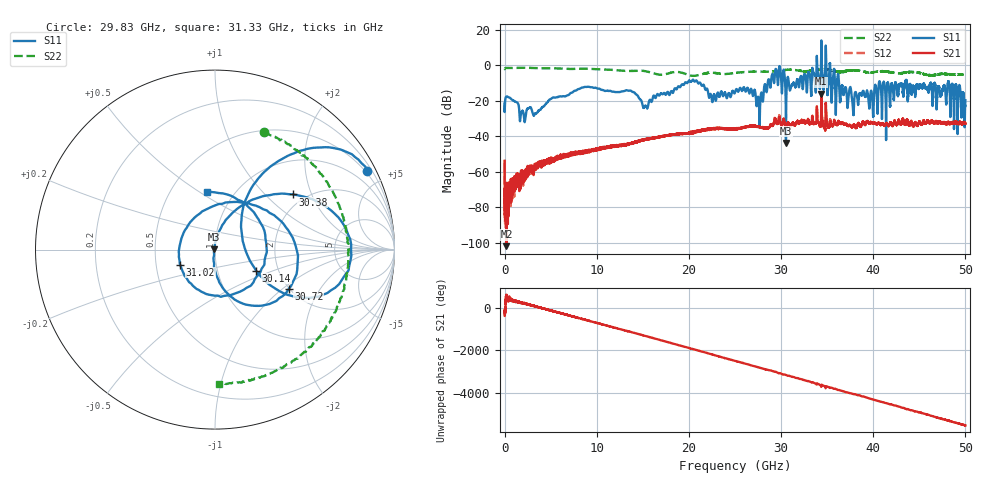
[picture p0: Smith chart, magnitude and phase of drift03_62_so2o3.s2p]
!Created with skrf (http://scikit-rf.org).
# Hz S RI R 50.0
!freq ReS11 ImS11 ReS21 ImS21 ReS12 ImS12 ReS22 ImS22
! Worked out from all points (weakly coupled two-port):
!   10001 points, 300 kHz to 50 GHz, reference 50 ohm
!   highest |S21| = -15.91 dB at 34.37 GHz (marker M1); lowest = -102.0 dB at 195.3 MHz (marker M2)
!   lowest |S11| = -43.7 dB at 30.53 GHz (marker M3), VSWR 1.01, Z = 49.4 + j0.226 ohm
!   |S11| at or under -10 dB: start of sweep to 19.55 GHz; 21.25 GHz to 28.55 GHz (7.298 GHz wide, 29.3 % of centre); 36.28 GHz to 40.62 GHz (4.334 GHz wide, 11.3 % of centre) (the widest 3 of 37)
!   |S22| runs from -5.9 to -1.3 dB; largest |S21 - S12| = 0.033
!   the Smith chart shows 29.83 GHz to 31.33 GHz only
!   S11 on the Smith chart (normalised r, x): 29.83 GHz: 0.44, +4.06; 30.14 GHz: 1.54, -0.39; 30.38 GHz: 1.72, +1.48; 30.72 GHz: 1.97, -1.11; 31.02 GHz: 0.67, -0.12; 31.33 GHz: 0.75, +0.54
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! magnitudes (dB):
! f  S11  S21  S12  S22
! 300 kHz  -21.6  -53.8  -55.3  -2.1
! 195.3 MHz  -17.6  -102.0  -83.5  -1.5
! 3.3 GHz  -27.3  -57.4  -56.3  -1.5
! 8.335 GHz  -12.6  -49.3  -49.0  -1.9
! 15.29 GHz  -22.8  -41.8  -42.0  -3.3
! 16.67 GHz  -16.5  -40.5  -40.5  -5.2
! 20.27 GHz  -9.1  -38.2  -38.2  -5.8
! 22.71 GHz  -16.4  -35.6  -35.6  -4.2
! 25 GHz  -15.3  -36.1  -35.7  -4.3
! 27.53 GHz  -17.8  -34.3  -34.5  -3.5
! 29.83 GHz  -0.4  -29.2  -28.6  -3.0
! 30.14 GHz  -11.8  -33.3  -33.5  -2.8
! 30.38 GHz  -5.5  -32.1  -32.3  -2.6
! 30.53 GHz  -43.7  -34.0  -34.2  -2.5
! 30.72 GHz  -6.6  -32.6  -32.6  -2.5
! 31.02 GHz  -13.5  -34.3  -34.3  -2.4
! 31.33 GHz  -9.8  -32.5  -32.4  -2.5
! 33.34 GHz  -7.5  -31.2  -31.1  -2.9
! 34.37 GHz  14.1  -15.9  -17.5  -2.3
! 37.86 GHz  -28.0  -33.6  -34.2  -2.8
! 41.67 GHz  -11.3  -34.2  -34.1  -3.7
! 50 GHz  -19.6  -32.9  -32.5  -5.0
